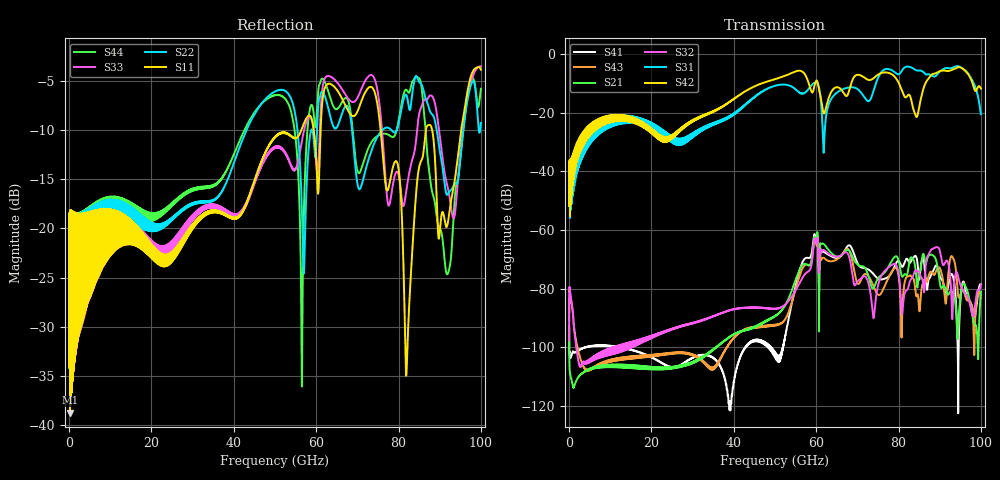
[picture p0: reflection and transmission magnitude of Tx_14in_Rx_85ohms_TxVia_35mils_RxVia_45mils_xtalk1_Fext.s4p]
! Info: Touchstone file created by Circ.  Input file=Tx_14in_Rx_85ohms_TxVia_35mils_RxVia_45mils.circ
# Hz S RI R 50
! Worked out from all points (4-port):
!   10000 points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, 10 MHz to 100 GHz, reference 50 ohm
!   strongest paths, dB at 10 MHz, 25.01 GHz, 50.01 GHz, 75.01 GHz, 100 GHz:
!     S42: -51.8, -28.5, -8.5, -7.0, -11.7
!     S31: -51.8, -28.8, -10.8, -8.1, -20.4
!     S32: -97.6, -93.6, -86.8, -79.0, -78.6
!     S21: -93.7, -106.9, -89.2, -76.5, -81.0
!     S43: -90.7, -101.9, -92.3, -82.0, -83.3
!     S41: -92.9, -106.8, -101.6, -76.6, -78.5
!   lowest |S11| = -38.8 dB at 230 MHz (marker M1), VSWR 1.02, Z = 49.2 - j0.826 ohm
!   |S11| at or under -10 dB: start of sweep to 56.39 GHz; 75.65 GHz to 86.63 GHz (10.99 GHz wide, 13.5 % of centre); 88.17 GHz to 95.21 GHz (7.037 GHz wide, 7.67 % of centre) (the widest 3 of 4)
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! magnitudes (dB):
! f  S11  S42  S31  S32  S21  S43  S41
! 10 MHz  -34.1  -51.8  -51.8  -97.6  -93.7  -90.7  -92.9
! 230 MHz  -38.8  -44.8  -44.9  -80.8  -108.8  -81.8  -103.6
! 10.2 GHz  -18.3  -20.8  -21.2  -102.1  -106.8  -104.9  -99.7
! 73.27 GHz  -5.6  -8.8  -15.2  -82.3  -78.6  -77.1  -74.0
! 81.99 GHz  -34.3  -14.5  -4.2  -80.5  -75.4  -76.0  -69.8
! 91.89 GHz  -19.6  -5.8  -4.7  -70.6  -81.9  -78.3  -80.4
! 100 GHz  -3.8  -11.7  -20.4  -78.6  -81.0  -83.3  -78.5
